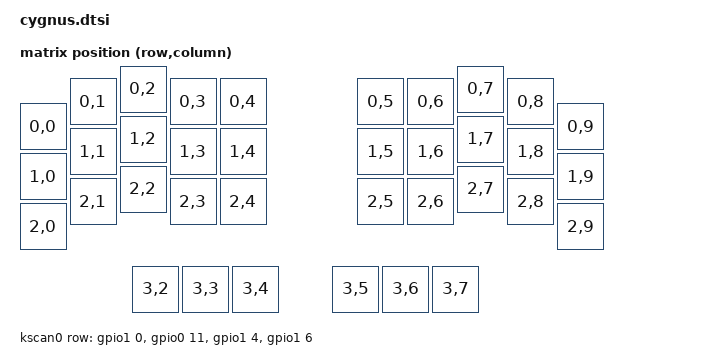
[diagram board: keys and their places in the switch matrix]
#include <dt-bindings/zmk/matrix_transform.h>
#include "physical_layouts.dtsi"

/ {
    cygnus_layout: cygnus_layout {
        compatible = "zmk,physical-layout";
        display-name = "cygnus";

        kscan = <&kscan0>;
        transform = <&matrix_transform0>;


         keys  //              w   h    x    y       rot    rx     ry
        = <&key_physical_attrs 100 100  100  175       0     0     0>
        , <&key_physical_attrs 100 100  200  125       0     0     0>
        , <&key_physical_attrs 100 100  300  100       0     0     0>
        , <&key_physical_attrs 100 100  400  125       0     0     0>
        , <&key_physical_attrs 100 100  500  125       0     0     0>
        , <&key_physical_attrs 100 100  775  125       0     0     0>
        , <&key_physical_attrs 100 100  875  125       0     0     0>
        , <&key_physical_attrs 100 100  975  100       0     0     0>
        , <&key_physical_attrs 100 100 1075  125       0     0     0>
        , <&key_physical_attrs 100 100 1175  175       0     0     0>


        , <&key_physical_attrs 100 100  100  275       0     0     0>
        , <&key_physical_attrs 100 100  200  225       0     0     0>
        , <&key_physical_attrs 100 100  300  200       0     0     0>
        , <&key_physical_attrs 100 100  400  225       0     0     0>
        , <&key_physical_attrs 100 100  500  225       0     0     0>
        , <&key_physical_attrs 100 100  775  225       0     0     0>
        , <&key_physical_attrs 100 100  875  225       0     0     0>
        , <&key_physical_attrs 100 100  975  200       0     0     0>
        , <&key_physical_attrs 100 100 1075  225       0     0     0>
        , <&key_physical_attrs 100 100 1175  275       0     0     0>


        , <&key_physical_attrs 100 100  100  375       0     0     0>
        , <&key_physical_attrs 100 100  200  325       0     0     0>
        , <&key_physical_attrs 100 100  300  300       0     0     0>
        , <&key_physical_attrs 100 100  400  325       0     0     0>
        , <&key_physical_attrs 100 100  500  325       0     0     0>
        , <&key_physical_attrs 100 100  775  325       0     0     0>
        , <&key_physical_attrs 100 100  875  325       0     0     0>
        , <&key_physical_attrs 100 100  975  300       0     0     0>
        , <&key_physical_attrs 100 100 1075  325       0     0     0>
        , <&key_physical_attrs 100 100 1175  375       0     0     0>


        , <&key_physical_attrs 100 100  325  500       0     0     0>
        , <&key_physical_attrs 100 100  425  500       0     0     0>
        , <&key_physical_attrs 100 100  525  500       0     0     0>
        , <&key_physical_attrs 100 100  725  500       0     0     0>
        , <&key_physical_attrs 100 100  825  500       0     0     0>
        , <&key_physical_attrs 100 100  925  500       0     0     0>
        ;
    };

    chosen {
        zmk,kscan = &kscan0;
        zmk,physical-layout = &cygnus_layout;
    };


    default_transform: keymap_transform_0 {
		compatible = "zmk,matrix-transform";
        columns = <10>;
        rows = <4>;

        map = <
            RC(0,0) RC(0,1) RC(0,2) RC(0,3) RC(0,4)  RC(0,5) RC(0,6) RC(0,7) RC(0,8) RC(0,9)
            RC(1,0) RC(1,1) RC(1,2) RC(1,3) RC(1,4)  RC(1,5) RC(1,6) RC(1,7) RC(1,8) RC(1,9)
            RC(2,0) RC(2,1) RC(2,2) RC(2,3) RC(2,4)  RC(2,5) RC(2,6) RC(2,7) RC(2,8) RC(2,9)
            		        RC(3,2) RC(3,3) RC(3,4)  RC(3,5) RC(3,6) RC(3,7)
        >;
    };
	
    kscan0: kscan {
        compatible = "zmk,kscan-gpio-matrix";
        label = "KSCAN";

        diode-direction = "col2row";
        wakeup-source;

        row-gpios =
            <&gpio1 0 (GPIO_ACTIVE_HIGH | GPIO_PULL_DOWN)>, 
            <&gpio0 11 (GPIO_ACTIVE_HIGH | GPIO_PULL_DOWN)>,
            <&gpio1 4 (GPIO_ACTIVE_HIGH | GPIO_PULL_DOWN)>, 
            <&gpio1 6  (GPIO_ACTIVE_HIGH | GPIO_PULL_DOWN)>;
    };
};
    &cygnus_layout{

	transform = <&default_transform>;

	kscan = <&kscan0>;

};
